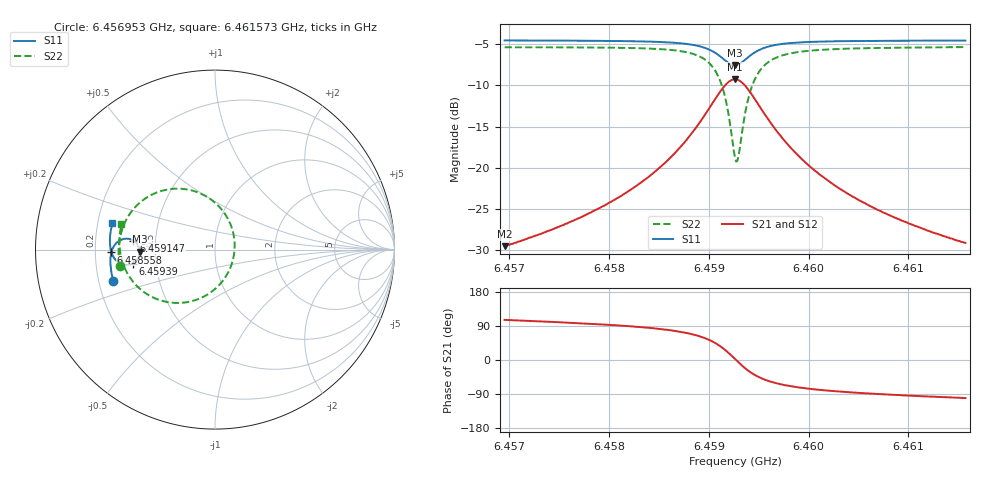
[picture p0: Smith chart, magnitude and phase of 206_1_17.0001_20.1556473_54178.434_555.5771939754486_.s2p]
#  HZ  S  RI  R  50.00
! Rohde & Schwarz Vector Network Analyzer
! Rohde-Schwarz,ZNB20-2Port,1311601062101988,3.16
! Created: UTC 3/20/2024, 11:01:15 PM
! freq[Hz]  re:S11  im:S11  re:S21  im:S21  re:S12  im:S12  re:S22  im:S22
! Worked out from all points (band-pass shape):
!   401 points, 6.456953 GHz to 6.461573 GHz, reference 50 ohm
!   highest |S21| = -9.26 dB at 6.459263 GHz (marker M1); lowest = -29.5 dB at 6.456953 GHz (marker M2)
!   |S21| within 3 dB of the highest: 6.459031 GHz to 6.459494 GHz (462.5 kHz wide, 0.00716 % of centre)
!   lowest |S11| = -7.6 dB at 6.459263 GHz (marker M3), VSWR 2.44, Z = 20.5 - j0.606 ohm
!   |S11| at or under -10 dB: nowhere
!   |S22| runs from -19.2 to -5.4 dB; largest |S21 - S12| = 0.013
!   S11 on the Smith chart (normalised r, x): 6.456953 GHz: 0.26, -0.14; 6.458558 GHz: 0.27, -0.01; 6.459147 GHz: 0.37, +0.05; 6.45939 GHz: 0.37, -0.07; 6.461573 GHz: 0.26, +0.12
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6.4569531e9  -0.5657 -0.1752  -0.00917 0.0322  -0.00747 0.0323  -0.531 -0.09
6.4577268e9  -0.58 -0.1077  -0.00595 0.0502  -0.00339 0.0496  -0.5372 0.000403
6.4581311e9  -0.5832 -0.0675  -0.000594 0.0682  0.00266 0.0671  -0.5305 0.0636
6.4585006e9  -0.5796 -0.0237  0.0136 0.0985  0.0175 0.0958  -0.5048 0.1457
6.4585584e9  -0.5778 -0.0156  0.0179 0.1053  0.022 0.1024  -0.4969 0.1623
6.4587662e9  -0.565 0.0165  0.0453 0.1379  0.0494 0.1331  -0.446 0.2352
6.4589164e9  -0.5425 0.043  0.0901 0.1686  0.0934 0.162  -0.363 0.3002
6.459055e9  -0.4987 0.0606  0.177 0.1855  0.1781 0.1781  -0.2044 0.3395
6.4591474e9  -0.4543 0.0505  0.2668 0.1545  0.2671 0.1487  -0.0383 0.2901
6.4592166e9  -0.4253 0.0187  0.3274 0.0832  0.3295 0.0779  0.0771 0.1618
6.4592628e9  -0.4182 -0.0122  0.3438 0.0155  0.3474 0.00862  0.1095 0.0356
6.4592744e9  -0.4188 -0.0202  0.3437 -0.00215  0.3476 -0.00957  0.1093 0.00218
6.4592975e9  -0.4223 -0.0358  0.3384 -0.0367  0.3421 -0.0457  0.0984 -0.0633
6.4593437e9  -0.4378 -0.0618  0.3101 -0.0965  0.3123 -0.1082  0.0417 -0.1761
6.4593899e9  -0.4596 -0.078  0.2685 -0.1374  0.2677 -0.1505  -0.0425 -0.2508
6.4594823e9  -0.5028 -0.0848  0.1841 -0.1689  0.1782 -0.1803  -0.2101 -0.2975
6.4596324e9  -0.5467 -0.0645  0.0968 -0.1554  0.0882 -0.1617  -0.377 -0.2493
6.4598056e9  -0.5691 -0.0351  0.0497 -0.1262  0.0424 -0.1287  -0.4611 -0.1732
6.4600366e9  -0.5809 -0.00143  0.0226 -0.0967  0.0169 -0.0973  -0.5059 -0.0961
6.4603831e9  -0.5856 0.0396  0.0067 -0.07  0.00258 -0.0697  -0.5276 -0.0172
6.4608104e9  -0.5839 0.0825  -0.00126 -0.0516  -0.00402 -0.0509  -0.5321 0.0509
6.4615726e9  -0.5718 0.1499  -0.00632 -0.0345  -0.00802 -0.0336  -0.5213 0.1408
